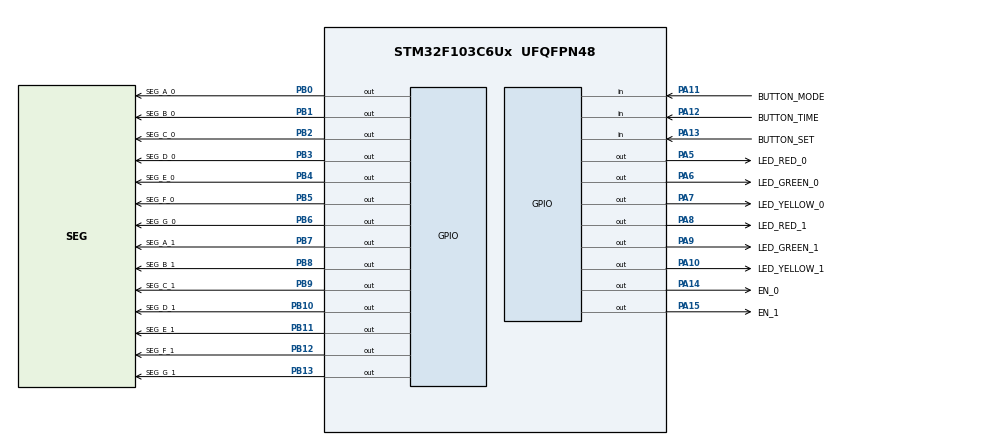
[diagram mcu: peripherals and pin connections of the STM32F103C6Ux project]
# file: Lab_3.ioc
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Mcu.Family=STM32F1
Mcu.Name=STM32F103C6Ux
Mcu.Package=UFQFPN48
NVIC.PriorityGroup=NVIC_PRIORITYGROUP_4
NVIC.TIM2_IRQn=true\:0\:0\:false\:false\:true\:true\:true
PA10.GPIO_Label=LED_YELLOW_1
PA10.Signal=GPIO_Output
PA11.GPIO_Label=BUTTON_MODE
PA11.GPIO_PuPd=GPIO_PULLUP
PA11.Signal=GPIO_Input
PA12.GPIO_Label=BUTTON_TIME
PA12.GPIO_PuPd=GPIO_PULLUP
PA12.Signal=GPIO_Input
PA13.GPIO_Label=BUTTON_SET
PA13.GPIO_PuPd=GPIO_PULLUP
PA13.Signal=GPIO_Input
PA14.GPIO_Label=EN_0
PA14.Signal=GPIO_Output
PA15.GPIO_Label=EN_1
PA15.Signal=GPIO_Output
PA5.GPIO_Label=LED_RED_0
PA5.Signal=GPIO_Output
PA6.GPIO_Label=LED_GREEN_0
PA6.Signal=GPIO_Output
PA7.GPIO_Label=LED_YELLOW_0
PA7.Signal=GPIO_Output
PA8.GPIO_Label=LED_RED_1
PA8.Signal=GPIO_Output
PA9.GPIO_Label=LED_GREEN_1
PA9.Signal=GPIO_Output
PB0.GPIO_Label=SEG_A_0
PB0.Signal=GPIO_Output
PB1.GPIO_Label=SEG_B_0
PB1.Signal=GPIO_Output
PB10.GPIO_Label=SEG_D_1
PB10.Signal=GPIO_Output
PB11.GPIO_Label=SEG_E_1
PB11.Signal=GPIO_Output
PB12.GPIO_Label=SEG_F_1
PB12.Signal=GPIO_Output
PB13.GPIO_Label=SEG_G_1
PB13.Signal=GPIO_Output
PB2.GPIO_Label=SEG_C_0
PB2.Signal=GPIO_Output
PB3.GPIO_Label=SEG_D_0
PB3.Signal=GPIO_Output
PB4.GPIO_Label=SEG_E_0
PB4.Signal=GPIO_Output
PB5.GPIO_Label=SEG_F_0
PB5.Signal=GPIO_Output
PB6.GPIO_Label=SEG_G_0
PB6.Signal=GPIO_Output
PB7.GPIO_Label=SEG_A_1
PB7.Signal=GPIO_Output
PB8.GPIO_Label=SEG_B_1
PB8.Signal=GPIO_Output
PB9.GPIO_Label=SEG_C_1
PB9.Signal=GPIO_Output
ProjectManager.HeapSize=0x200
ProjectManager.StackSize=0x400
ProjectManager.TargetToolchain=STM32CubeIDE
RCC.APB1Freq_Value=8000000
RCC.APB2Freq_Value=8000000
TIM2.Period=9
TIM2.Prescaler=7999
VP_SYS_VS_ND.Mode=No_Debug
VP_TIM2_VS_ClockSourceINT.Mode=Internal
board=custom

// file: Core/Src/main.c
/* USER CODE BEGIN Header */
/**
  ******************************************************************************
  * @file           : main.c
  * @brief          : Main program body
  ******************************************************************************
  * @attention
  *
  * <h2><center>&copy; Copyright (c) 2022 STMicroelectronics.
  * All rights reserved.</center></h2>
  *
  * This software component is licensed by ST under BSD 3-Clause license,
  * the "License"; You may not use this file except in compliance with the
  * License. You may obtain a copy of the License at:
  *                        opensource.org/licenses/BSD-3-Clause
  *
  ******************************************************************************
  */
/* USER CODE END Header */
#include "main.h"

/* USER CODE BEGIN Includes */
#include "software_timer.h"
#include "global.h"
#include "fsm.h"
#include "button.h"
/* USER CODE END Includes */

TIM_HandleTypeDef htim2;

void SystemClock_Config(void);
static void MX_GPIO_Init(void);
static void MX_TIM2_Init(void);

int main(void)
{

  /* MCU Configuration--------------------------------------------------------*/

  /* Reset of all peripherals, Initializes the Flash interface and the Systick. */
  HAL_Init();

  /* Configure the system clock */
  SystemClock_Config();

  /* Initialize all configured peripherals */
  MX_GPIO_Init();
  MX_TIM2_Init();
  /* USER CODE BEGIN 2 */
  HAL_TIM_Base_Start_IT(&htim2);
  /* USER CODE END 2 */

  /* Infinite loop */
  /* USER CODE BEGIN WHILE */
  status = 0;
  int index = 0;
  setTimer0(10);
  while (1)
  {

	  if (timer0_flag == 1) {
		  update7SEG(index);
		  index++;
		  if (index == 2) index = 0;
		  setTimer0(500);
	  }
	  fsm_run();
    /* USER CODE END WHILE */

  }
}

void SystemClock_Config(void)
{
  RCC_OscInitTypeDef RCC_OscInitStruct = {0};
  RCC_ClkInitTypeDef RCC_ClkInitStruct = {0};

  /** Initializes the RCC Oscillators according to the specified parameters
  * in the RCC_OscInitTypeDef structure.
  */
  RCC_OscInitStruct.OscillatorType = RCC_OSCILLATORTYPE_HSI;
  RCC_OscInitStruct.HSIState = RCC_HSI_ON;
  RCC_OscInitStruct.HSICalibrationValue = RCC_HSICALIBRATION_DEFAULT;
  RCC_OscInitStruct.PLL.PLLState = RCC_PLL_NONE;
  if (HAL_RCC_OscConfig(&RCC_OscInitStruct) != HAL_OK)
  {
    Error_Handler();
  }
  /** Initializes the CPU, AHB and APB buses clocks
  */
  RCC_ClkInitStruct.ClockType = RCC_CLOCKTYPE_HCLK|RCC_CLOCKTYPE_SYSCLK
                              |RCC_CLOCKTYPE_PCLK1|RCC_CLOCKTYPE_PCLK2;
  RCC_ClkInitStruct.SYSCLKSource = RCC_SYSCLKSOURCE_HSI;
  RCC_ClkInitStruct.AHBCLKDivider = RCC_SYSCLK_DIV1;
  RCC_ClkInitStruct.APB1CLKDivider = RCC_HCLK_DIV1;
  RCC_ClkInitStruct.APB2CLKDivider = RCC_HCLK_DIV1;

  if (HAL_RCC_ClockConfig(&RCC_ClkInitStruct, FLASH_LATENCY_0) != HAL_OK)
  {
    Error_Handler();
  }
}

static void MX_TIM2_Init(void)
{

  TIM_ClockConfigTypeDef sClockSourceConfig = {0};
  TIM_MasterConfigTypeDef sMasterConfig = {0};

  htim2.Instance = TIM2;
  htim2.Init.Prescaler = 7999;
  htim2.Init.CounterMode = TIM_COUNTERMODE_UP;
  htim2.Init.Period = 9;
  htim2.Init.ClockDivision = TIM_CLOCKDIVISION_DIV1;
  htim2.Init.AutoReloadPreload = TIM_AUTORELOAD_PRELOAD_DISABLE;
  if (HAL_TIM_Base_Init(&htim2) != HAL_OK)
  {
    Error_Handler();
  }
  sClockSourceConfig.ClockSource = TIM_CLOCKSOURCE_INTERNAL;
  if (HAL_TIM_ConfigClockSource(&htim2, &sClockSourceConfig) != HAL_OK)
  {
    Error_Handler();
  }
  sMasterConfig.MasterOutputTrigger = TIM_TRGO_RESET;
  sMasterConfig.MasterSlaveMode = TIM_MASTERSLAVEMODE_DISABLE;
  if (HAL_TIMEx_MasterConfigSynchronization(&htim2, &sMasterConfig) != HAL_OK)
  {
    Error_Handler();
  }

}

static void MX_GPIO_Init(void)
{
  GPIO_InitTypeDef GPIO_InitStruct = {0};

  /* GPIO Ports Clock Enable */
  __HAL_RCC_GPIOA_CLK_ENABLE();
  __HAL_RCC_GPIOB_CLK_ENABLE();

  /*Configure GPIO pin Output Level */
  HAL_GPIO_WritePin(GPIOA, LED_RED_0_Pin|LED_GREEN_0_Pin|LED_YELLOW_0_Pin|LED_RED_1_Pin
                          |LED_GREEN_1_Pin|LED_YELLOW_1_Pin|EN_0_Pin|EN_1_Pin, GPIO_PIN_RESET);

  /*Configure GPIO pin Output Level */
  HAL_GPIO_WritePin(GPIOB, SEG_A_0_Pin|SEG_B_0_Pin|SEG_C_0_Pin|SEG_D_1_Pin
                          |SEG_E_1_Pin|SEG_F_1_Pin|SEG_G_1_Pin|SEG_D_0_Pin
                          |SEG_E_0_Pin|SEG_F_0_Pin|SEG_G_0_Pin|SEG_A_1_Pin
                          |SEG_B_1_Pin|SEG_C_1_Pin, GPIO_PIN_RESET);

  /*Configure GPIO pins : LED_RED_0_Pin LED_GREEN_0_Pin LED_YELLOW_0_Pin LED_RED_1_Pin
                           LED_GREEN_1_Pin LED_YELLOW_1_Pin EN_0_Pin EN_1_Pin */
  GPIO_InitStruct.Pin = LED_RED_0_Pin|LED_GREEN_0_Pin|LED_YELLOW_0_Pin|LED_RED_1_Pin
                          |LED_GREEN_1_Pin|LED_YELLOW_1_Pin|EN_0_Pin|EN_1_Pin;
  GPIO_InitStruct.Mode = GPIO_MODE_OUTPUT_PP;
  GPIO_InitStruct.Pull = GPIO_NOPULL;
  GPIO_InitStruct.Speed = GPIO_SPEED_FREQ_LOW;
  HAL_GPIO_Init(GPIOA, &GPIO_InitStruct);

  /*Configure GPIO pins : SEG_A_0_Pin SEG_B_0_Pin SEG_C_0_Pin SEG_D_1_Pin
                           SEG_E_1_Pin SEG_F_1_Pin SEG_G_1_Pin SEG_D_0_Pin
                           SEG_E_0_Pin SEG_F_0_Pin SEG_G_0_Pin SEG_A_1_Pin
                           SEG_B_1_Pin SEG_C_1_Pin */
  GPIO_InitStruct.Pin = SEG_A_0_Pin|SEG_B_0_Pin|SEG_C_0_Pin|SEG_D_1_Pin
                          |SEG_E_1_Pin|SEG_F_1_Pin|SEG_G_1_Pin|SEG_D_0_Pin
                          |SEG_E_0_Pin|SEG_F_0_Pin|SEG_G_0_Pin|SEG_A_1_Pin
                          |SEG_B_1_Pin|SEG_C_1_Pin;
  GPIO_InitStruct.Mode = GPIO_MODE_OUTPUT_PP;
  GPIO_InitStruct.Pull = GPIO_NOPULL;
  GPIO_InitStruct.Speed = GPIO_SPEED_FREQ_LOW;
  HAL_GPIO_Init(GPIOB, &GPIO_InitStruct);

  /*Configure GPIO pins : BUTTON_MODE_Pin BUTTON_TIME_Pin BUTTON_SET_Pin */
  GPIO_InitStruct.Pin = BUTTON_MODE_Pin|BUTTON_TIME_Pin|BUTTON_SET_Pin;
  GPIO_InitStruct.Mode = GPIO_MODE_INPUT;
  GPIO_InitStruct.Pull = GPIO_PULLUP;
  HAL_GPIO_Init(GPIOA, &GPIO_InitStruct);

}

/* USER CODE BEGIN 4 */
void HAL_TIM_PeriodElapsedCallback(TIM_HandleTypeDef *htim){
	timerRun();
	getKeyInput();
	//getKeyInputMODE();
	//getKeyInputSET();
	//getKeyInputTIME();
}
/* USER CODE END 4 */

void Error_Handler(void)
{
  __disable_irq();
  while (1)
  {
  }
}

/************************ (C) COPYRIGHT STMicroelectronics *****END OF FILE****/
